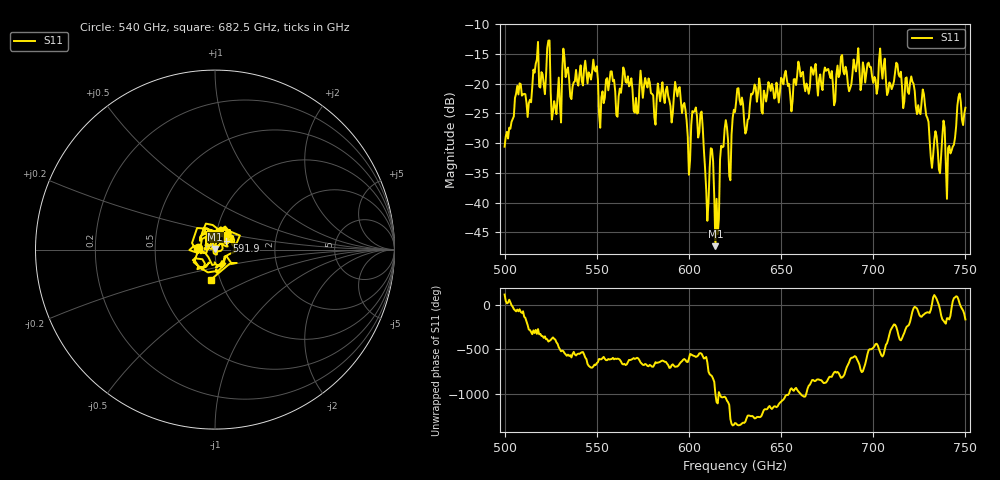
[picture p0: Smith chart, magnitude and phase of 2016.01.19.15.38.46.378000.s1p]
!Created with skrf (http://scikit-rf.org).
# GHz S RI R 50.0
!freq ReS11 ImS11
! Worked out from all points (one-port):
!   401 points, 500 GHz to 750 GHz, reference 50 ohm
!   lowest |S11| = -47.3 dB at 614.4 GHz (marker M1), VSWR 1.01, Z = 50.1 + j0.424 ohm
!   |S11| at or under -10 dB: start of sweep to end of sweep
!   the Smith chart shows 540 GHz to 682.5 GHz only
!   S11 on the Smith chart (normalised r, x): 540 GHz: 0.83, +0.02; 591.9 GHz: 1.13, +0.11; 682.5 GHz: 0.90, -0.31
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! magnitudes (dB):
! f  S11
! 500 GHz  -30.6
! 507.5 GHz  -21.8
! 513.1 GHz  -23.3
! 516.9 GHz  -16.7
! 523.8 GHz  -12.8
! 526.9 GHz  -22.9
! 531.2 GHz  -17.9
! 540 GHz  -20.3
! 562.5 GHz  -20.8
! 591.9 GHz  -22.0
! 593.8 GHz  -22.1
! 600 GHz  -35.3
! 603.1 GHz  -24.6
! 606.9 GHz  -24.7
! 609.4 GHz  -37.8
! 612.5 GHz  -31.0
! 614.4 GHz  -47.3
! 615.6 GHz  -45.3
! 618.8 GHz  -30.6
! 622.5 GHz  -36.2
! 625 GHz  -24.8
! 656.2 GHz  -22.9
! 682.5 GHz  -15.5
! 687.5 GHz  -20.7
! 718.8 GHz  -21.4
! 740.6 GHz  -30.8
! 746.2 GHz  -22.2
! 750 GHz  -24.0
